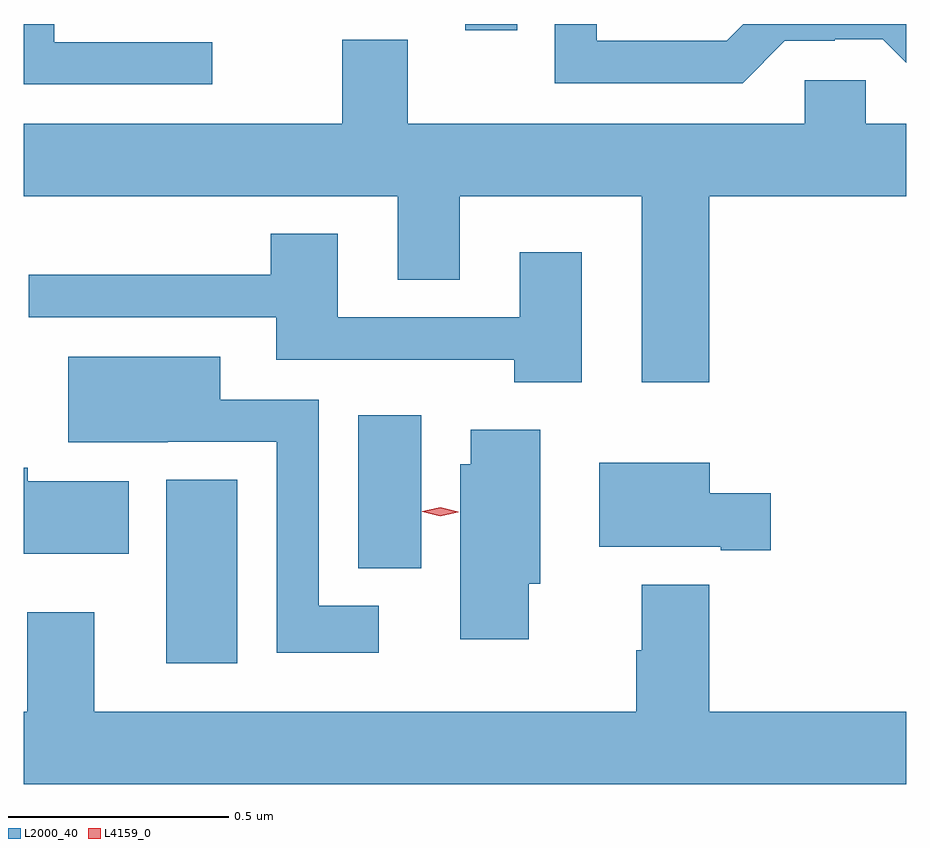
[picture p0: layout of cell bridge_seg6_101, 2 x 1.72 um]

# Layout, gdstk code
import gdstk
lib = gdstk.Library(unit=1e-6, precision=1e-09)
def R(c, l, rs):  # rectangles x0, y0, x1, y1
    for r in rs: c.add(gdstk.rectangle(r[:2], r[2:], *l))
def P(c, l, *ps):  # polygons
    for p in ps: c.add(gdstk.Polygon(p, *l))
L2000_40 = (2000, 40)
L4159_0 = (4159, 0)

bridge_seg6_101 = lib.new_cell('bridge_seg6_101')
R(bridge_seg6_101, L2000_40, [(844.682,947.61,844.843,948.025), (845.117,947.825,845.26,948.172), (845.359,949.044,845.477,949.058)])
P(bridge_seg6_101, L2000_40, [(846.084,949.02),(846.197,949.02),(846.197,949.023),(846.306,949.023),(846.359,948.97),(846.359,949.058),(845.99,949.058),(845.952,949.02),(845.658,949.02),(845.658,949.058),(845.562,949.058),(845.562,948.924),(845.988,948.924)],
  [(844.786,949.017),(844.428,949.017),(844.428,949.058),(844.359,949.058),(844.359,948.921),(844.786,948.921)],
  [(845.912,948.668),(846.359,948.668),(846.359,948.832),(846.267,948.832),(846.267,948.93),(846.129,948.93),(846.129,948.832),(845.229,948.832),(845.229,949.022),(845.081,949.022),(845.081,948.832),(844.359,948.832),(844.359,948.668),(845.207,948.668),(845.207,948.478),(845.347,948.478),(845.347,948.668),(845.759,948.668),(845.759,948.246),(845.912,948.246)],
  [(845.623,948.541),(845.483,948.541),(845.483,948.393),(845.071,948.393),(845.071,948.583),(844.919,948.583),(844.919,948.49),(844.371,948.49),(844.371,948.393),(844.931,948.393),(844.931,948.297),(845.471,948.297),(845.471,948.246),(845.623,948.246)],
  [(845.164,947.74),(845.028,947.74),(845.028,948.207),(844.804,948.207),(844.804,948.304),(844.46,948.304),(844.46,948.11),(844.686,948.11),(844.686,948.111),(844.932,948.111),(844.932,947.633),(845.164,947.633)],
  [(845.503,947.79),(845.53,947.79),(845.53,948.139),(845.372,948.139),(845.372,948.06),(845.348,948.06),(845.348,947.664),(845.503,947.664)],
  [(846.052,947.995),(845.914,947.995),(845.914,948.064),(845.663,948.064),(845.663,947.873),(845.939,947.873),(845.939,947.866),(846.052,947.866)],
  [(844.597,948.022),(844.368,948.022),(844.368,948.052),(844.359,948.052),(844.359,947.858),(844.597,947.858)],
  [(846.359,947.5),(845.912,947.5),(845.912,947.788),(845.759,947.788),(845.759,947.639),(845.747,947.639),(845.747,947.5),(844.519,947.5),(844.519,947.725),(844.367,947.725),(844.367,947.5),(844.359,947.5),(844.359,947.336),(846.359,947.336)])
P(bridge_seg6_101, L4159_0, [(845.303,947.943),(845.262,947.953),(845.262,947.954),(845.262,947.954),(845.303,947.963),(845.344,947.953),(845.344,947.952),(845.344,947.952)])

lib.write_gds('bridge_seg6_101.gds')
